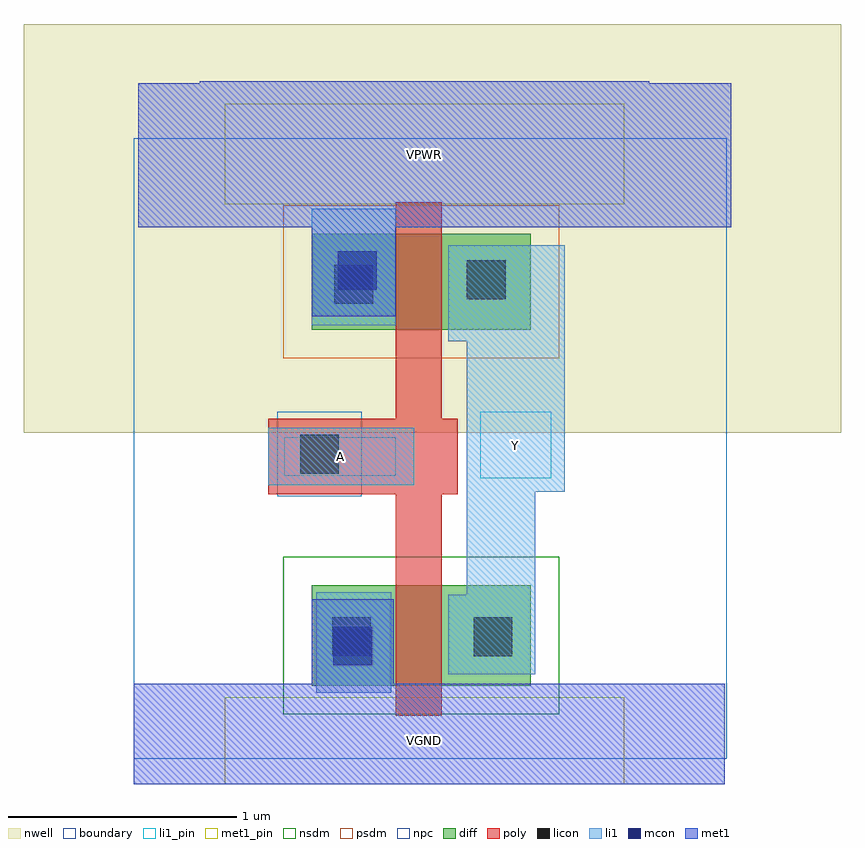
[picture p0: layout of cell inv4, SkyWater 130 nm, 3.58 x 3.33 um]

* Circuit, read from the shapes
.subckt inv4 A VGND VPWR Y
XM1 Y A VGND VSUBS sky130_fd_pr__nfet_01v8 w=0.44 l=0.2
XM2 Y A VPWR n1 sky130_fd_pr__pfet_01v8 w=0.42 l=0.2
.ends

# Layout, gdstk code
import gdstk
lib = gdstk.Library(unit=1e-6, precision=1e-09)
def R(c, l, rs):  # rectangles x0, y0, x1, y1
    for r in rs: c.add(gdstk.rectangle(r[:2], r[2:], *l))
nwell = (64, 20)
diff = (65, 20)
poly = (66, 20)
licon = (66, 44)
li1_pin = (67, 16)
li1 = (67, 20)
mcon = (67, 44)
met1_pin = (68, 16)
met1 = (68, 20)
nsdm = (93, 44)
psdm = (94, 20)
npc = (95, 20)
boundary = (235, 4)

inv4 = lib.new_cell('inv4')
R(inv4, nwell, [(-0.48,1.43,3.1,3.22)])
R(inv4, diff, [(0.78,0.32,1.74,0.76), (0.78,1.88,1.74,2.3)])
R(inv4, poly, [(1.15,0.19,1.35,1.16), (0.59,1.16,1.42,1.49), (1.15,1.49,1.35,2.44)])
R(inv4, licon, [(0.87,0.45,1.04,0.62), (1.49,0.45,1.66,0.62), (0.73,1.25,0.9,1.42), (0.88,1.995,1.05,2.165), (1.46,2.015,1.63,2.185)])
R(inv4, li1_pin, [(1.52,1.23,1.83,1.52), (0.66,1.24,1.15,1.41)])
R(inv4, li1, [(0.8,0.29,1.13,0.73), (1.38,0.37,1.76,0.72), (1.46,0.72,1.76,1.17), (1.46,1.17,1.89,1.83), (0.59,1.2,1.23,1.45), (1.38,1.83,1.89,2.25), (0.78,1.9,1.15,2.41)])
R(inv4, mcon, [(0.875,0.41,1.045,0.58), (0.895,2.055,1.065,2.225)])
R(inv4, met1_pin, [(0.4,-0.11,2.15,0.27), (0.4,2.43,2.15,2.87)])
R(inv4, met1, [(0,-0.11,2.59,0.33), (0.78,0.33,1.14,0.7), (0.78,1.94,1.15,2.33), (0.02,2.33,2.62,2.96), (0.29,2.96,2.26,2.97)])
R(inv4, nsdm, [(0.655,0.195,1.865,0.885)])
R(inv4, psdm, [(0.655,1.755,1.865,2.425)])
R(inv4, npc, [(0.63,1.15,1,1.52)])
R(inv4, boundary, [(0,0,2.6,2.72)])
inv4.add(gdstk.Label('A', (0.905,1.325), layer=67, texttype=5))
inv4.add(gdstk.Label('VGND', (1.275,0.08), layer=68, texttype=5))
inv4.add(gdstk.Label('VPWR', (1.275,2.65), layer=68, texttype=5))
inv4.add(gdstk.Label('Y', (1.675,1.375), layer=67, texttype=5))

lib.write_gds('inv4.gds')
